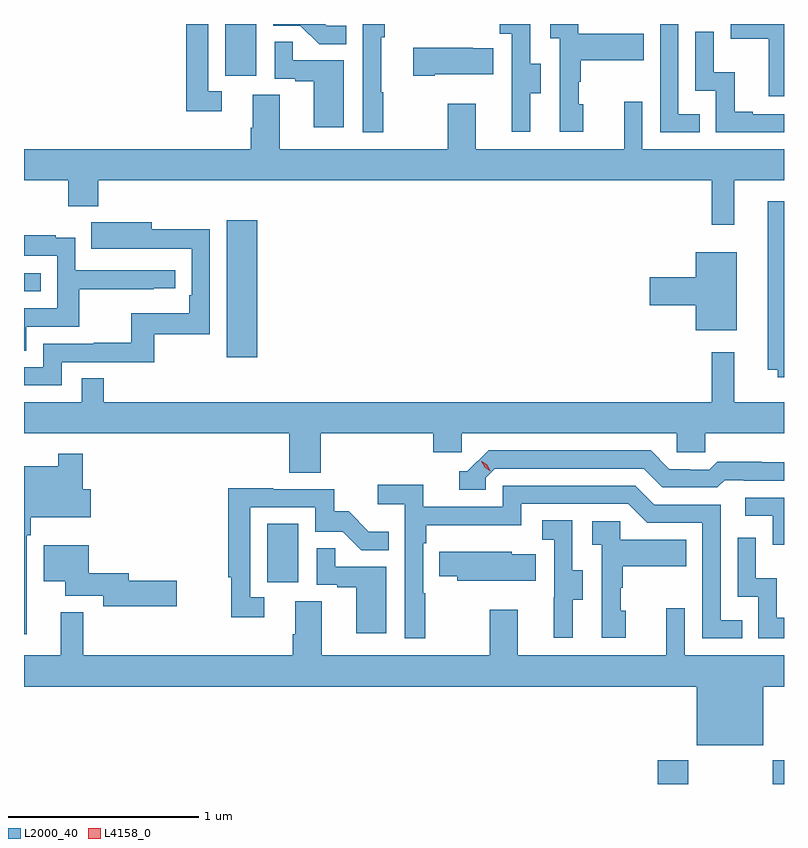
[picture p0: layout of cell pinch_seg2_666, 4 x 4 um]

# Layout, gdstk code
import gdstk
lib = gdstk.Library(unit=1e-6, precision=1e-09)
def R(c, l, rs):  # rectangles x0, y0, x1, y1
    for r in rs: c.add(gdstk.rectangle(r[:2], r[2:], *l))
def P(c, l, *ps):  # polygons
    for p in ps: c.add(gdstk.Polygon(p, *l))
L2000_40 = (2000, 40)
L4158_0 = (4158, 0)

pinch_seg2_666 = lib.new_cell('pinch_seg2_666')
R(pinch_seg2_666, L2000_40, [(1073.801,592.511,1073.961,592.636), (1074.406,592.511,1074.466,592.636), (1071.746,593.574,1071.91,593.881), (1071.533,594.756,1071.694,595.477), (1070.466,595.104,1070.555,595.2), (1071.524,596.238,1071.688,596.511)])
P(pinch_seg2_666, L2000_40, [(1073.41,596.088),(1073.385,596.088),(1073.385,596.207),(1073.395,596.207),(1073.395,596.321),(1073.729,596.321),(1073.729,596.461),(1073.382,596.461),(1073.382,596.511),(1073.235,596.511),(1073.235,596.435),(1073.286,596.435),(1073.286,595.944),(1073.41,595.944)],
  [(1074.466,596.511),(1074.186,596.511),(1074.186,596.433),(1074.385,596.433),(1074.385,596.13),(1074.466,596.13)],
  [(1073.131,596.146),(1073.185,596.146),(1073.185,596.301),(1073.13,596.301),(1073.13,596.511),(1072.971,596.511),(1072.971,596.461),(1073.034,596.461),(1073.034,596.157),(1073.033,596.157),(1073.033,595.944),(1073.131,595.944)],
  [(1072.163,596.503),(1072.059,596.503),(1072.051,596.511),(1071.777,596.511),(1071.777,596.502),(1071.921,596.502),(1072.019,596.404),(1072.163,596.404)],
  [(1071.508,596.157),(1071.435,596.157),(1071.435,596.511),(1071.319,596.511),(1071.319,596.052),(1071.508,596.052)],
  [(1074.023,596.037),(1073.91,596.037),(1073.91,596.511),(1073.814,596.511),(1073.814,595.941),(1074.023,595.941)],
  [(1072.357,596.153),(1072.345,596.153),(1072.345,596.441),(1072.364,596.441),(1072.364,596.511),(1072.248,596.511),(1072.248,595.941),(1072.357,595.941)],
  [(1074.466,596.037),(1074.301,596.037),(1074.301,596.05),(1074.206,596.05),(1074.206,596.258),(1074.096,596.258),(1074.096,596.47),(1074,596.47),(1074,596.16),(1074.108,596.16),(1074.108,595.941),(1074.466,595.941)],
  [(1072.15,596.319),(1071.881,596.319),(1071.881,596.417),(1071.786,596.417),(1071.786,596.223),(1071.893,596.223),(1071.893,596.211),(1071.992,596.211),(1071.992,595.968),(1072.15,595.968)],
  [(1072.627,596.246),(1072.937,596.246),(1072.937,596.383),(1072.829,596.383),(1072.829,596.386),(1072.515,596.386),(1072.515,596.239),(1072.627,596.239)],
  [(1074.203,595.688),(1074.466,595.688),(1074.466,595.852),(1073.721,595.852),(1073.721,596.101),(1073.624,596.101),(1073.624,595.852),(1072.843,595.852),(1072.843,596.092),(1072.696,596.092),(1072.696,595.852),(1071.811,595.852),(1071.811,596.138),(1071.671,596.138),(1071.671,595.964),(1071.659,595.964),(1071.659,595.852),(1070.466,595.852),(1070.466,595.688),(1070.698,595.688),(1070.698,595.553),(1070.858,595.553),(1070.858,595.688),(1074.085,595.688),(1074.085,595.455),(1074.203,595.455)],
  [(1074.466,595.579),(1074.38,595.579),(1074.38,594.692),(1074.434,594.692),(1074.434,594.653),(1074.466,594.653)],
  [(1070.664,594.732),(1071.151,594.732),(1071.151,594.879),(1071.444,594.879),(1071.444,595.43),(1071.139,595.43),(1071.139,595.468),(1070.821,595.468),(1070.821,595.328),(1071.035,595.328),(1071.035,595.329),(1071.348,595.329),(1071.348,595.084),(1071.335,595.084),(1071.335,594.988),(1071.03,594.988),(1071.03,594.833),(1070.833,594.833),(1070.833,594.828),(1070.568,594.828),(1070.568,594.705),(1070.466,594.705),(1070.466,594.609),(1070.664,594.609)],
  [(1070.479,594.918),(1070.756,594.918),(1070.756,595.114),(1071.149,595.114),(1071.149,595.119),(1071.262,595.119),(1071.262,595.215),(1070.736,595.215),(1070.736,595.387),(1070.633,595.387),(1070.633,595.399),(1070.466,595.399),(1070.466,595.29),(1070.64,595.29),(1070.64,595.014),(1070.466,595.014),(1070.466,594.79),(1070.479,594.79)],
  [(1074.217,595.309),(1074.002,595.309),(1074.002,595.178),(1073.76,595.178),(1073.76,595.031),(1074.002,595.031),(1074.002,594.899),(1074.217,594.899)],
  [(1072.028,594.356),(1072.619,594.356),(1072.619,594.258),(1072.77,594.258),(1072.77,594.356),(1073.901,594.356),(1073.901,594.258),(1074.051,594.258),(1074.051,594.356),(1074.466,594.356),(1074.466,594.52),(1074.204,594.52),(1074.204,594.784),(1074.085,594.784),(1074.085,594.52),(1070.885,594.52),(1070.885,594.647),(1070.769,594.647),(1070.769,594.52),(1070.466,594.52),(1070.466,594.356),(1071.863,594.356),(1071.863,594.148),(1072.028,594.148)],
  [(1072.896,594.123),(1072.944,594.171),(1073.727,594.171),(1073.826,594.072),(1074.115,594.072),(1074.154,594.111),(1074.253,594.111),(1074.253,594.108),(1074.466,594.108),(1074.466,594.205),(1074.348,594.205),(1074.348,594.208),(1074.115,594.208),(1074.073,594.165),(1073.97,594.165),(1073.97,594.168),(1073.863,594.168),(1073.764,594.267),(1072.911,594.267),(1072.8,594.156),(1072.757,594.156),(1072.757,594.06),(1072.896,594.06)],
  [(1070.481,593.819),(1070.501,593.819),(1070.501,593.915),(1070.818,593.915),(1070.818,594.063),(1070.774,594.063),(1070.774,594.25),(1070.646,594.25),(1070.646,594.184),(1070.466,594.184),(1070.466,593.298),(1070.481,593.298)],
  [(1072.579,593.516),(1072.566,593.516),(1072.566,593.777),(1072.583,593.777),(1072.583,593.873),(1073.082,593.873),(1073.082,593.985),(1073.646,593.985),(1073.745,593.886),(1074.036,593.886),(1074.036,593.277),(1074.245,593.277),(1074.245,593.373),(1074.132,593.373),(1074.132,593.982),(1073.782,593.982),(1073.683,594.081),(1072.986,594.081),(1072.986,593.97),(1072.568,593.97),(1072.568,594.086),(1072.329,594.086),(1072.329,593.984),(1072.47,593.984),(1072.47,593.277),(1072.579,593.277)],
  [(1071.73,593.493),(1071.657,593.493),(1071.657,593.967),(1071.999,593.967),(1071.999,593.838),(1072.143,593.838),(1072.241,593.74),(1072.385,593.74),(1072.385,593.839),(1072.281,593.839),(1072.174,593.946),(1072.098,593.946),(1072.098,594.063),(1071.779,594.063),(1071.779,594.068),(1071.541,594.068),(1071.541,593.6),(1071.556,593.6),(1071.556,593.388),(1071.73,593.388)],
  [(1074.466,594.018),(1074.261,594.018),(1074.261,593.922),(1074.408,593.922),(1074.408,593.769),(1074.466,593.769)],
  [(1073.353,593.482),(1073.407,593.482),(1073.407,593.637),(1073.352,593.637),(1073.352,593.9),(1073.193,593.9),(1073.193,593.797),(1073.256,593.797),(1073.256,593.493),(1073.255,593.493),(1073.255,593.28),(1073.353,593.28)],
  [(1073.632,593.424),(1073.607,593.424),(1073.607,593.543),(1073.617,593.543),(1073.617,593.657),(1073.951,593.657),(1073.951,593.797),(1073.604,593.797),(1073.604,593.895),(1073.457,593.895),(1073.457,593.771),(1073.508,593.771),(1073.508,593.28),(1073.632,593.28)],
  [(1074.466,593.386),(1074.428,593.386),(1074.428,593.594),(1074.318,593.594),(1074.318,593.806),(1074.222,593.806),(1074.222,593.496),(1074.33,593.496),(1074.33,593.277),(1074.466,593.277)],
  [(1071.271,593.582),(1071.016,593.582),(1071.016,593.619),(1070.806,593.619),(1070.806,593.767),(1070.57,593.767),(1070.57,593.579),(1070.684,593.579),(1070.684,593.501),(1070.882,593.501),(1070.882,593.447),(1071.271,593.447)],
  [(1072.372,593.655),(1072.103,593.655),(1072.103,593.753),(1072.008,593.753),(1072.008,593.559),(1072.115,593.559),(1072.115,593.547),(1072.214,593.547),(1072.214,593.304),(1072.372,593.304)],
  [(1073.159,593.719),(1073.034,593.719),(1073.034,593.734),(1072.762,593.734),(1072.762,593.733),(1072.651,593.733),(1072.651,593.605),(1072.745,593.605),(1072.745,593.582),(1073.159,593.582)],
  [(1074.358,593.024),(1074.466,593.024),(1074.466,593.188),(1073.943,593.188),(1073.943,593.437),(1073.846,593.437),(1073.846,593.188),(1073.065,593.188),(1073.065,593.428),(1072.918,593.428),(1072.918,593.188),(1072.033,593.188),(1072.033,593.474),(1071.893,593.474),(1071.893,593.3),(1071.881,593.3),(1071.881,593.188),(1070.777,593.188),(1070.777,593.416),(1070.66,593.416),(1070.66,593.188),(1070.466,593.188),(1070.466,593.024),(1074.008,593.024),(1074.008,592.715),(1074.358,592.715)])
P(pinch_seg2_666, L4158_0, [(1072.92,594.158),(1072.89,594.177),(1072.873,594.209),(1072.873,594.209),(1072.874,594.209),(1072.904,594.19),(1072.921,594.158),(1072.921,594.158)])

lib.write_gds('pinch_seg2_666.gds')
